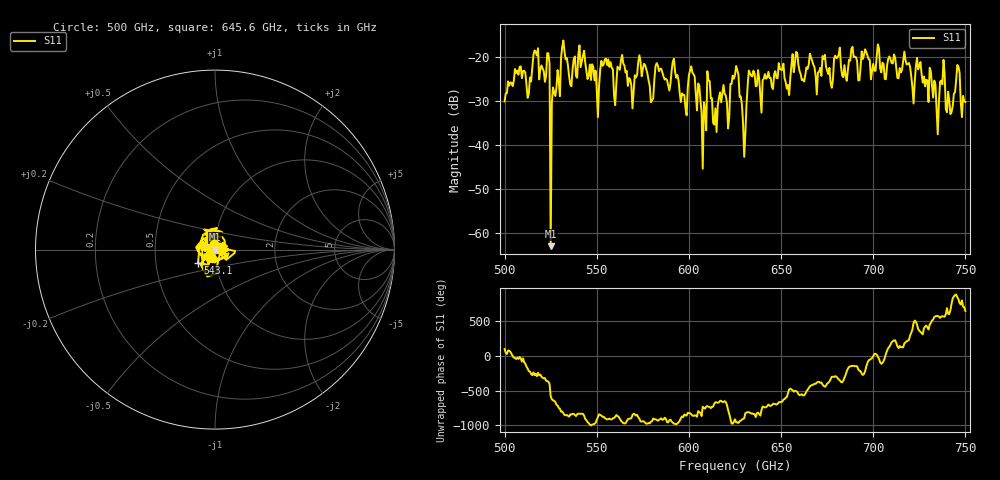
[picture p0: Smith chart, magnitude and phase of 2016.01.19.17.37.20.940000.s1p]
!Created with skrf (http://scikit-rf.org).
# GHz S RI R 50.0
!freq ReS11 ImS11
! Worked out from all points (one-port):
!   401 points, 500 GHz to 750 GHz, reference 50 ohm
!   lowest |S11| = -63.0 dB at 525 GHz (marker M1), VSWR 1.00, Z = 49.9 + j0.0478 ohm
!   |S11| at or under -10 dB: start of sweep to end of sweep
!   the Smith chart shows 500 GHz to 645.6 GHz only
!   S11 on the Smith chart (normalised r, x): 500 GHz: 0.99, +0.06; 543.1 GHz: 0.82, -0.12; 645.6 GHz: 1.08, +0.04
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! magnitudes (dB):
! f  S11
! 500 GHz  -30.0
! 506.9 GHz  -23.0
! 513.1 GHz  -28.3
! 516.9 GHz  -18.7
! 523.1 GHz  -19.0
! 525 GHz  -63.0
! 526.2 GHz  -26.8
! 526.9 GHz  -27.9
! 531.2 GHz  -17.6
! 543.1 GHz  -18.5
! 550 GHz  -27.3
! 562.5 GHz  -22.8
! 568.8 GHz  -26.3
! 573.8 GHz  -21.0
! 593.8 GHz  -24.0
! 597.5 GHz  -28.6
! 601.9 GHz  -23.4
! 608.1 GHz  -30.2
! 611.2 GHz  -25.3
! 614.4 GHz  -31.6
! 625 GHz  -24.0
! 630 GHz  -42.6
! 633.8 GHz  -24.2
! 645.6 GHz  -27.2
! 656.2 GHz  -19.2
! 687.5 GHz  -20.7
! 718.8 GHz  -21.5
! 750 GHz  -30.1
